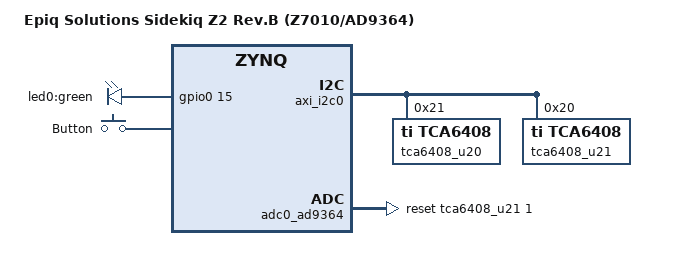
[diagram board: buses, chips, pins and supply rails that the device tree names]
// SPDX-License-Identifier: GPL-2.0
/*
 * EPIQ Solutions Sidekiq Z2
 * https://epiqsolutions.com/rf-transceiver/sidekiq-z2/
 *
 * hdl_project: <sidekiqz2>
 * board_revision: <>
 *
 * Copyright (C) 2018-2019 Analog Devices Inc.
 */
/dts-v1/;
#include "zynq-pluto-sdr.dtsi"
#include <dt-bindings/input/input.h>
#include <dt-bindings/gpio/gpio.h>
#include <dt-bindings/interrupt-controller/irq.h>

#define AD9361_EXT_BAND_CTL_SHORTHANDS
#include <dt-bindings/iio/adc/adi,ad9361.h>

/ {
	model = "Epiq Solutions Sidekiq Z2 Rev.B (Z7010/AD9364)";

	leds {
		compatible = "gpio-leds";
		led0 {
			label = "led0:green";
			gpios = <&gpio0 15 0>;
			linux,default-trigger = "heartbeat";
		};
	};

	gpio_keys {
		compatible = "gpio-keys";
		#address-cells = <1>;
		#size-cells = <0>;

		button {
			interrupt-parent = <&gpio0>;
			interrupts = <14 IRQ_TYPE_EDGE_FALLING>;
			label = "Button";
			linux,code = <BTN_MISC>;
		};

	};
};

&axi_i2c0 {
	/* yep, U20 on the board has i2c addr 21 and vice-versa */
	tca6408_u20: gpio@21 {
		compatible = "ti,tca6408";
		reg = <0x21>;
		gpio-controller;
		#gpio-cells = <2>;

		/**
		 * rx_ant_1: gpios = <7 0>:  High for RX Antenna port 1
		 * rx_ant_2: gpios = <6 0>:  High for RX Antenna port 2
		 *
		 * All LNA pins set to low, disable LAN control
		 * lna_bias_1: gpios = <5 0>: High for Max Bias;
		 *                            other pins must be HI-Z
		 * lna_bias_2: gpios = <4 0>: High for Med Bias;
		 *                            other pins must be HI-Z inputs
		 * lna_bias_3: gpios = <3 0>: High for Min Bias;
		 *                            other pins must be HI-Z inputs
		 * band_0_2_3: gpios = <2 0>: High for Band 0,2,3, Low for 1 & 4
		 * band_0:     gpios = <1 0>: High for RX 50-3000 MHz thru,
		 *                            freq range is limited by ad936x
		 * band_1: gpios = <0 0>; High for RX 40-435 MHz (Bandpass)
		 */
		gpio-line-names = "band_1", "band_0", "band_0_2_3",
			"lna_bias_3", "lna_bias_2", "lna_bias_1",
			"rx_ant_2", "rx_ant_1";
	};

	tca6408_u21: gpio@20 {
		compatible = "ti,tca6408";
		reg = <0x20>;
		gpio-controller;
		#gpio-cells = <2>;

		/**
		 * band_2: gpios = <7 0>: High for RX 435-910MHz (Bandpass)
		 * band_3: gpios = <6 0>: High for RX 910-1950MHz (Bandpass)
		 * band_4: gpios = <5 0>: High for RX 1950-6000MHz (Bandpass)
		 * lna_sw: gpios = <4 0>: Low to enable on-board LNA path;
		 *                        High to enable LNA bypass
		 * tx_band_0: gpios = <3 0>: High for TX 50-3000 MHz
		 * tx_band_1: gpios = <2 0>: High for TX 3000-6000 MHz
		 * rfic_reset_n: gpios = <1 0>: Avoid Out-High;
		 *                              Low to reset ad936x;
		 *                              otherwise HI_Z input
		 * en_ext_i2c_3v3_n: gpios = <0 0>: Low to connect on-board
		 *                                  i2c to host SMBus;
		 *                                  HI_Z input to isolate i2c
		 *                                  from host SMBus
		 */

		gpio-line-names = "en_ext_i2c_3v3_n", "rfic_reset_n",
			"tx_band_1", "tx_band_0", "lna_sw", "band_4",
			"band_3", "band_2";

		lna_sw {
			gpio-hog;
			gpios = <4 0>;
			output-low;
			line-name = "lna_sw";
		};

		en_ext_i2c_3v3_n {
			gpio-hog;
			gpios = <0 0>;
			input;
			line-name = "en_ext_i2c_3v3_n";
		};
	};
};

&adc0_ad9364 {
	compatible = "adi,ad9364";

	adi,gpo-manual-mode-enable;
	adi,gpo-manual-mode-enable-mask = <0x4>;

	/* Make sure to define `reset-gpios` otherwise, Pluto's reset pin
	 * will still be used. `reset-gpios` takes precedence over
	 * `reset-gpio`
	 */
	reset-gpios = <&tca6408_u21 1 GPIO_OPEN_DRAIN>;

	/* Up to 256 GPIOs can be defined like this ;
	 * for `adi,band-ctl-X-gpio`, X has to be incremental
	 */
	adi,band-ctl-0-gpio = <&gpio0 67 GPIO_ACTIVE_HIGH>;      /* tdd_ant_3 */

	adi,band-ctl-1-gpio = <&tca6408_u20 7 GPIO_ACTIVE_HIGH>; /* rx_ant_1 */
	adi,band-ctl-2-gpio = <&tca6408_u20 6 GPIO_ACTIVE_HIGH>; /* rx_ant_2 */
	adi,band-ctl-3-gpio = <&tca6408_u20 5 GPIO_ACTIVE_HIGH>; /* lna_bias_1 */
	adi,band-ctl-4-gpio = <&tca6408_u20 4 GPIO_ACTIVE_HIGH>; /* lna_bias_2 */
	adi,band-ctl-5-gpio = <&tca6408_u20 3 GPIO_ACTIVE_HIGH>; /* lna_bias_3 */
	adi,band-ctl-6-gpio = <&tca6408_u20 2 GPIO_ACTIVE_HIGH>; /* band_0_2_3 */
	adi,band-ctl-7-gpio = <&tca6408_u20 1 GPIO_ACTIVE_HIGH>; /* band_0 */
	adi,band-ctl-8-gpio = <&tca6408_u20 0 GPIO_ACTIVE_HIGH>; /* band_1 */

	adi,band-ctl-9-gpio = <&tca6408_u21 7 GPIO_ACTIVE_HIGH>; /* band_2 */
	adi,band-ctl-10-gpio = <&tca6408_u21 6 GPIO_ACTIVE_HIGH>; /* band_3 */
	adi,band-ctl-11-gpio = <&tca6408_u21 5 GPIO_ACTIVE_HIGH>; /* band_4 */
	adi,band-ctl-12-gpio = <&tca6408_u21 3 GPIO_ACTIVE_HIGH>; /* tx_band_0 */
	adi,band-ctl-13-gpio = <&tca6408_u21 2 GPIO_ACTIVE_HIGH>; /* tx_band_1 */

	sidekiq_disable_lna: sidekiq_disable_lna {
		adi,gpio-settings = <_ _ _ 0 0 0 _ _ _ _ _ _ _ _>;
	};

	sidekiq_lna_med: sidekiq_lna_med {
		adi,gpio-settings = <_ _ _ I 1 I _ _ _ _ _ _ _ _>;
	};

	sidekiq_rx_antenna_isolation: sidekiq_rx_antenna_isolation {
		adi,gpio-settings = <0 0 0 _ _ _ _ _ _ _ _ _ _ _>;
	};

	sidekiq_tx_antenna_2: sidekiq_tx_antenna_2 {
		adi,gpio-settings = <_ _ _ _ _ _ _ _ _ _ _ _ 1 2>;
	};

	sidekiq_rx_ant_1: sidekiq_rx_ant_1 {
		adi,gpio-settings = <0 1 0 _ _ _ _ _ _ _ _ _ _ _>;
	};

	ad9361_rx_ant_port_a: ad9361_rx_ant_port_a {
		adi,rx-rf-port-input-select = <0>; /* (RX1A_N &  RX1A_P) and (RX2A_N & RX2A_P) enabled; balanced */
	};

	ad9361_rx_ant_port_b: ad9361_rx_ant_port_b {
		adi,rx-rf-port-input-select = <1>; /* (RX1B_N &  RX1B_P) and (RX2B_N & RX2B_P) enabled; balanced */
	};

	ad9361_rx_ant_port_c: ad9361_rx_ant_port_c {
		adi,rx-rf-port-input-select = <2>; /* (RX1C_N &  RX1C_P) and (RX2C_N & RX2C_P) enabled; balanced */
	};

	ad9361_tx_ant_port_a: ad9361_tx_ant_port_a {
		adi,tx-rf-port-input-select = <0>; /* TX1A, TX2A */
	};

	ad9361_tx_ant_port_b: ad9361_tx_ant_port_b {
		adi,tx-rf-port-input-select = <1>; /* TX1B, TX2B */
	};

	sidekiq_rx_pre: sidekiq_rx_pre {
		/* FIXME: delays are 0 ; maybe check if we need to adjust this */
		adi,band-ctl-pre = <&sidekiq_disable_lna 0
				    &sidekiq_rx_antenna_isolation 0>;
	};

	adi_ext_band_ctl_init {
		/* All low on boot-up [driver init] */
		adi,gpio-settings = <1 0 0 0 0 0 0 0 0 0 0 0 0 0>;
	};

	adi_ext_band_ctl_uninit {
		/* All low on driver uninit */
		adi,band-ctl-pre = <&sidekiq_rx_pre 0>;
		adi,gpio-settings = <1 0 0 0 0 0 0 0 0 0 0 0 0 0>;
	};

	adi_rx_band_setting_0 { /* 70 - 435 Mhz ; i.e. 70 <= freq < ( 435 Mhz + 1 Hz ) */
		adi,lo-freq-min = /bits/ 64 <70000000>;
		adi,lo-freq-max = /bits/ 64 <435000001>;

		adi,band-ctl-pre = <&sidekiq_rx_pre 0>;
		adi,gpio-settings = <0 _ _ _ _ _ 0 0 1 0 0 0 _ _>; /* Band_1*/
		adi,band-ctl-post = <&ad9361_rx_ant_port_b 0
				     &sidekiq_rx_ant_1 0
				     &sidekiq_lna_med 0>; /* LNA Max or Min could be used here instead */
	};

	adi_rx_band_setting_1 { /* 435 - 910 Mhz */
		adi,lo-freq-min = /bits/ 64 <435000001>;
		adi,lo-freq-max = /bits/ 64 <910000001>;

		adi,band-ctl-pre = <&sidekiq_rx_pre 0>;
		adi,gpio-settings = <0 _ _ _ _ _ 1 0 0 1 0 0 _ _>; /* Band 2 */
		adi,band-ctl-post = <&ad9361_rx_ant_port_c 0
				     &sidekiq_rx_ant_1 0
				     &sidekiq_lna_med 0>;
	};

	adi_rx_band_setting_2 { /* 910 - 1950 Mhz */
		adi,lo-freq-min = /bits/ 64 <910000001>;
		adi,lo-freq-max = /bits/ 64 <1950000001>;

		adi,band-ctl-pre = <&sidekiq_rx_pre 0>;
		adi,gpio-settings = <0 _ _ _ _ _ 1 0 0 0 1 0 _ _>; /* Band 3 */
		adi,band-ctl-post = <&ad9361_rx_ant_port_c 0
				     &sidekiq_rx_ant_1 0
				     &sidekiq_lna_med 0>;
	};

	adi_rx_band_setting_3 { /* 1950 - 6000 Mhz */
		adi,lo-freq-min = /bits/ 64 <1950000001>;
		adi,lo-freq-max = /bits/ 64 <6000000001>;

		adi,band-ctl-pre = <&sidekiq_rx_pre 0>;
		adi,gpio-settings = <0 _ _ _ _ _ 0 0 0 0 0 1 _ _>; /* Band 4 */
		adi,band-ctl-post = <&ad9361_rx_ant_port_a 0
				     &sidekiq_rx_ant_1 0
				     &sidekiq_lna_med 0>;
	};

	adi_tx_band_setting_0 { /* 46.8 - 3000 Mhz (including 3000 Mhz */
		adi,lo-freq-min = /bits/ 64 <46875001>;
		adi,lo-freq-max = /bits/ 64 <3000000001>;

		adi,gpio-settings = <0 _ _ _ _ _ _ _ _ _ _ _ 1 0>; /* TX Band 0 */
		adi,band-ctl-post = <&ad9361_tx_ant_port_b 0>;
	};

	adi_tx_band_setting_1 { /* 3000 -6000 Mhz */
		adi,lo-freq-min = /bits/ 64 <3000000001>;
		adi,lo-freq-max = /bits/ 64 <6000000001>;

		adi,gpio-settings = <0 _ _ _ _ _ _ _ _ _ _ _ 0 1>; /* TX Band 1 */
		adi,band-ctl-post = <&ad9361_tx_ant_port_a 0>;
	};
};
